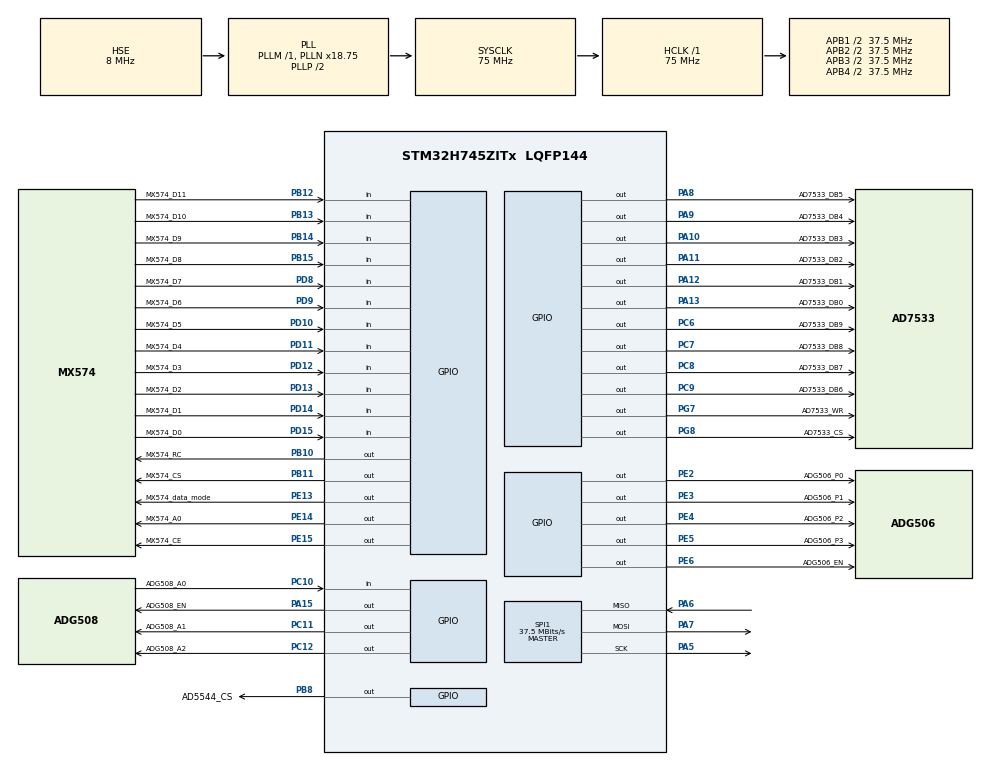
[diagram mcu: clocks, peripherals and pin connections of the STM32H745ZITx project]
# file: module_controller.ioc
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CortexM4.IPs=FATFS_M4\:I,FREERTOS_M4\:I,IWDG2\:I,RCC,WWDG2\:I,DMA,BDMA,MDMA,NVIC2\:I,USART3,ETH,DEBUG,USB_DEVICE_M4\:I,USB_HOST_M4\:I,PDM2PCM_M4\:I,PWR,RESMGR_UTILITY,SYS_M4\:I,CORTEX_M4\:I,OPENAMP_M4\:I,VREFBUF,GPIO
CortexM7.IPs=FATFS_M7\:I,FREERTOS_M7\:I,IWDG1\:I,RCC\:I,WWDG1\:I,DMA\:I,BDMA\:I,MDMA\:I,NVIC1\:I,SYS\:I,USART3\:I,USB_OTG_FS\:I,ETH\:I,CORTEX_M7\:I,DEBUG\:I,USB_DEVICE_M7\:I,USB_HOST_M7\:I,PDM2PCM_M7\:I,PWR\:I,RESMGR_UTILITY\:I,OPENAMP_M7\:I,VREFBUF\:I,GPIO\:I,SPI1\:I,SPI2\:I
Mcu.Family=STM32H7
Mcu.Name=STM32H745ZITx
Mcu.Package=LQFP144
NVIC1.PriorityGroup=NVIC_PRIORITYGROUP_4
NVIC2.PriorityGroup=NVIC_PRIORITYGROUP_4
PA10.GPIO_Label=AD7533_DB3
PA10.PinAttribute=Free
PA10.Signal=GPIO_Output
PA11.GPIO_Label=AD7533_DB2
PA11.PinAttribute=Free
PA11.Signal=GPIO_Output
PA12.GPIO_Label=AD7533_DB1
PA12.PinAttribute=Free
PA12.Signal=GPIO_Output
PA13\ (JTMS/SWDIO).GPIO_Label=AD7533_DB0
PA13\ (JTMS/SWDIO).PinAttribute=Free
PA13\ (JTMS/SWDIO).Signal=GPIO_Output
PA15\ (JTDI).GPIO_Label=ADG508_EN
PA15\ (JTDI).PinAttribute=Free
PA15\ (JTDI).Signal=GPIO_Output
PA5.Mode=Full_Duplex_Master
PA5.PinAttribute=CortexM7
PA5.Signal=SPI1_SCK
PA6.Mode=Full_Duplex_Master
PA6.PinAttribute=CortexM7
PA6.Signal=SPI1_MISO
PA7.Mode=Full_Duplex_Master
PA7.PinAttribute=CortexM7
PA7.Signal=SPI1_MOSI
PA8.GPIO_Label=AD7533_DB5
PA8.PinAttribute=Free
PA8.Signal=GPIO_Output
PA9.GPIO_Label=AD7533_DB4
PA9.PinAttribute=Free
PA9.Signal=GPIO_Output
PB10.GPIO_Label=MX574_RC
PB10.Signal=GPIO_Output
PB11.GPIO_Label=MX574_CS
PB11.Signal=GPIO_Output
PB12.GPIO_Label=MX574_D11
PB12.Signal=GPIO_Input
PB13.GPIO_Label=MX574_D10
PB13.Signal=GPIO_Input
PB14.GPIO_Label=MX574_D9
PB14.Signal=GPIO_Input
PB15.GPIO_Label=MX574_D8
PB15.Signal=GPIO_Input
PB8.GPIO_Label=AD5544_CS
PB8.PinAttribute=Free
PB8.Signal=GPIO_Output
PC10.GPIO_Label=ADG508_A0
PC10.PinAttribute=Free
PC10.Signal=GPIO_Input
PC11.GPIO_Label=ADG508_A1
PC11.PinAttribute=Free
PC11.Signal=GPIO_Output
PC12.GPIO_Label=ADG508_A2
PC12.PinAttribute=Free
PC12.Signal=GPIO_Output
PC6.GPIO_Label=AD7533_DB9
PC6.PinAttribute=Free
PC6.Signal=GPIO_Output
PC7.GPIO_Label=AD7533_DB8
PC7.PinAttribute=Free
PC7.Signal=GPIO_Output
PC8.GPIO_Label=AD7533_DB7
PC8.PinAttribute=Free
PC8.Signal=GPIO_Output
PC9.GPIO_Label=AD7533_DB6
PC9.PinAttribute=Free
PC9.Signal=GPIO_Output
PD10.GPIO_Label=MX574_D5
PD10.Signal=GPIO_Input
PD11.GPIO_Label=MX574_D4
PD11.Signal=GPIO_Input
PD12.GPIO_Label=MX574_D3
PD12.Signal=GPIO_Input
PD13.GPIO_Label=MX574_D2
PD13.Signal=GPIO_Input
PD14.GPIO_Label=MX574_D1
PD14.Signal=GPIO_Input
PD15.GPIO_Label=MX574_D0
PD15.Signal=GPIO_Input
PD8.GPIO_Label=MX574_D7
PD8.Signal=GPIO_Input
PD9.GPIO_Label=MX574_D6
PD9.Signal=GPIO_Input
PE13.GPIO_Label=MX574_data_mode
PE13.Signal=GPIO_Output
PE14.GPIO_Label=MX574_A0
PE14.Signal=GPIO_Output
PE15.GPIO_Label=MX574_CE
PE15.Signal=GPIO_Output
PE2.GPIO_Label=ADG506_P0
PE2.Signal=GPIO_Output
PE3.GPIO_Label=ADG506_P1
PE3.Signal=GPIO_Output
PE4.GPIO_Label=ADG506_P2
PE4.Signal=GPIO_Output
PE5.GPIO_Label=ADG506_P3
PE5.Signal=GPIO_Output
PE6.GPIO_Label=ADG506_EN
PE6.Signal=GPIO_Output
PG7.GPIO_Label=AD7533_WR
PG7.PinAttribute=Free
PG7.Signal=GPIO_Output
PG8.GPIO_Label=AD7533_CS
PG8.PinAttribute=Free
PG8.Signal=GPIO_Output
PH0-OSC_IN\ (PH0).Mode=HSE-External-Oscillator
PH0-OSC_IN\ (PH0).PinAttribute=Free
PH0-OSC_IN\ (PH0).Signal=RCC_OSC_IN
PH1-OSC_OUT\ (PH1).Mode=HSE-External-Oscillator
PH1-OSC_OUT\ (PH1).PinAttribute=Free
PH1-OSC_OUT\ (PH1).Signal=RCC_OSC_OUT
ProjectManager.HeapSize=M4-0x200,M7-0x200
ProjectManager.StackSize=M4-0x400,M7-0x400
ProjectManager.TargetToolchain=STM32CubeIDE
RCC.ADCFreq_Value=16125000
RCC.APB1Freq_Value=37500000
RCC.APB2Freq_Value=37500000
RCC.APB3Freq_Value=37500000
RCC.APB4Freq_Value=37500000
RCC.CortexFreq_Value=75000000
RCC.D1PPRE=RCC_APB3_DIV2
RCC.D2PPRE1=RCC_APB1_DIV2
RCC.D2PPRE2=RCC_APB2_DIV2
RCC.D3PPRE=RCC_APB4_DIV2
RCC.DIVM1=1
RCC.DIVM3=1
RCC.DIVN1=18
RCC.DIVN3=18
RCC.DIVQ3=3
RCC.HCLKFreq_Value=75000000
RCC.HSE_VALUE=8000000
RCC.PLL2FRACN=0
RCC.PLL3FRACN=6144
RCC.PLLFRACN=6144
RCC.PLLSourceVirtual=RCC_PLLSOURCE_HSE
RCC.SYSCLKFreq_VALUE=75000000
RCC.SYSCLKSource=RCC_SYSCLKSOURCE_PLLCLK
RCC.SupplySource=PWR_DIRECT_SMPS_SUPPLY
RCC.USBCLockSelection=RCC_USBCLKSOURCE_PLL3
RCC.USBFreq_Value=50000000
SPI1.CalculateBaudRate=37.5 MBits/s
SPI1.Direction=SPI_DIRECTION_2LINES
SPI1.Mode=SPI_MODE_MASTER
SPI1.VirtualType=VM_MASTER
VP_SYS_M4_VS_Systick.Mode=SysTick
board=NUCLEO-H745ZI-Q

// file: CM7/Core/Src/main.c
/* USER CODE BEGIN Header */
/**
  ******************************************************************************
  * @file           : main.c
  * @brief          : Main program body
  ******************************************************************************
  * @attention
  *
  * Copyright (c) 2025 STMicroelectronics.
  * All rights reserved.
  *
  * This software is licensed under terms that can be found in the LICENSE file
  * in the root directory of this software component.
  * If no LICENSE file comes with this software, it is provided AS-IS.
  *
  ******************************************************************************
  */
/* USER CODE END Header */
#include "main.h"

/* USER CODE BEGIN Includes */
#include "ad5544.h"
#include "ad7533.h"
#include "adg508.h"
#include "adg506.h"
#include "mx574.h"
/* USER CODE END Includes */

/* USER CODE BEGIN PD */

#ifndef HSEM_ID_0
#define HSEM_ID_0 (0U) /* HW semaphore 0*/
#endif

/* USER CODE END PD */

SPI_HandleTypeDef hspi1;

void SystemClock_Config(void);
static void MX_GPIO_Init(void);
static void MX_SPI1_Init(void);

int main(void)
{

/* USER CODE BEGIN Boot_Mode_Sequence_0 */
  int32_t timeout;
/* USER CODE END Boot_Mode_Sequence_0 */

/* USER CODE BEGIN Boot_Mode_Sequence_1 */
  /* Wait until CPU2 boots and enters in stop mode or timeout*/
  timeout = 0xFFFF;
  while((__HAL_RCC_GET_FLAG(RCC_FLAG_D2CKRDY) != RESET) && (timeout-- > 0));
  if ( timeout < 0 )
  {
  Error_Handler();
  }
/* USER CODE END Boot_Mode_Sequence_1 */
  /* MCU Configuration--------------------------------------------------------*/

  /* Reset of all peripherals, Initializes the Flash interface and the Systick. */
  HAL_Init();

  /* Configure the system clock */
  SystemClock_Config();
/* USER CODE BEGIN Boot_Mode_Sequence_2 */
/* When system initialization is finished, Cortex-M7 will release Cortex-M4 by means of
HSEM notification */
/*HW semaphore Clock enable*/
__HAL_RCC_HSEM_CLK_ENABLE();
/*Take HSEM */
HAL_HSEM_FastTake(HSEM_ID_0);
/*Release HSEM in order to notify the CPU2(CM4)*/
HAL_HSEM_Release(HSEM_ID_0,0);
/* wait until CPU2 wakes up from stop mode */
timeout = 0xFFFF;
while((__HAL_RCC_GET_FLAG(RCC_FLAG_D2CKRDY) == RESET) && (timeout-- > 0));
if ( timeout < 0 )
{
Error_Handler();
}
/* USER CODE END Boot_Mode_Sequence_2 */

  /* Initialize all configured peripherals */
  MX_GPIO_Init();
  MX_SPI1_Init();
  /* USER CODE BEGIN 2 */

  //AD5544_Init();
  //AD7533_Init();
  //ADG508_Init();  // MUX aktif
  //ADG506_Init();
  //MX574_Init();

  /* USER CODE END 2 */

  /* Infinite loop */
  /* USER CODE BEGIN WHILE */

  while (1)
  {
	  // AD5544
	  //AD5544_WriteChannel(0, 0xAAAA);  // kanal 0'a (A cikisi) 0xAAAA yani orta seviyeye yakin dijital deger gonderilir, DAC cikisinda buna karsilik gelen analog voltaj uretir
	  //AD5544_WriteChannel(1, 0x5555);  // kanal 1'e (B cikisi) 0x5555 diger bir orta seviye dijital deger gonderilir
	  //HAL_Delay(1000);

	  // AD7533
	  //AD7533_Write(0x155);  // DAC'a 0x155 (0001010101) yazilir. DB0, DB2, DB4, DB6, DB8 pinleri high yapilir
	  //HAL_Delay(1000);
	  //AD7533_Write(0x2AA);  // DAC'e 0x2AA (0010101010) yazilir. DB1, DB3, DB5, DB7, DB9 pinleri high yapilir
	  //HAL_Delay(1000);

	  // ADG508
	  // 8 kanalin her biri sirasiyla secilir(kanal 0–7). Her kanal yaklasik 500ms boyunca aktif kalır
	  // Bu, coklayicinin duzgun kanal anahtarlama yapip yapmadigini test etmek icindir
	  //for (uint8_t ch = 0; ch < 8; ch++) {
	  //    ADG508_SelectChannel(ch);  							// kanal secimi(A0–A2 pinleri uzerinden), GPIOC->ODR ile kontrol
	  //    HAL_Delay(500);
	  //}

	  // ADG506
	  // 16 kanalin her biri sirasiyla secilir (kanal 0–15)
	  // Bu test 4 bit kanal seciminin (A0–A3) duzgun calistigini dogrular
	  //for (uint8_t ch = 0; ch < 16; ch++) {
	  //    ADG506_SelectChannel(ch);
	  //    HAL_Delay(500);
	  //}

	  // MX574
	  // ADC modulunden 12 bitlik dijital veri okunur, su anda donanim henuz baglanmadigi icin fonksiyon test verisi dondurmektedir
	  //uint16_t adc_result = MX574_Read12Bit();					// modul olunca icindeki fake_data kismi silinecek
	  //HAL_Delay(1000);

    /* USER CODE END WHILE */

  }
}

void SystemClock_Config(void)
{
  RCC_OscInitTypeDef RCC_OscInitStruct = {0};
  RCC_ClkInitTypeDef RCC_ClkInitStruct = {0};

  /** Supply configuration update enable
  */
  HAL_PWREx_ConfigSupply(PWR_DIRECT_SMPS_SUPPLY);

  /** Configure the main internal regulator output voltage
  */
  __HAL_PWR_VOLTAGESCALING_CONFIG(PWR_REGULATOR_VOLTAGE_SCALE3);

  while(!__HAL_PWR_GET_FLAG(PWR_FLAG_VOSRDY)) {}

  /** Initializes the RCC Oscillators according to the specified parameters
  * in the RCC_OscInitTypeDef structure.
  */
  RCC_OscInitStruct.OscillatorType = RCC_OSCILLATORTYPE_HSE;
  RCC_OscInitStruct.HSEState = RCC_HSE_ON;
  RCC_OscInitStruct.PLL.PLLState = RCC_PLL_ON;
  RCC_OscInitStruct.PLL.PLLSource = RCC_PLLSOURCE_HSE;
  RCC_OscInitStruct.PLL.PLLM = 1;
  RCC_OscInitStruct.PLL.PLLN = 18;
  RCC_OscInitStruct.PLL.PLLP = 2;
  RCC_OscInitStruct.PLL.PLLQ = 2;
  RCC_OscInitStruct.PLL.PLLR = 2;
  RCC_OscInitStruct.PLL.PLLRGE = RCC_PLL1VCIRANGE_3;
  RCC_OscInitStruct.PLL.PLLVCOSEL = RCC_PLL1VCOMEDIUM;
  RCC_OscInitStruct.PLL.PLLFRACN = 6144;
  if (HAL_RCC_OscConfig(&RCC_OscInitStruct) != HAL_OK)
  {
    Error_Handler();
  }

  /** Initializes the CPU, AHB and APB buses clocks
  */
  RCC_ClkInitStruct.ClockType = RCC_CLOCKTYPE_HCLK|RCC_CLOCKTYPE_SYSCLK
                              |RCC_CLOCKTYPE_PCLK1|RCC_CLOCKTYPE_PCLK2
                              |RCC_CLOCKTYPE_D3PCLK1|RCC_CLOCKTYPE_D1PCLK1;
  RCC_ClkInitStruct.SYSCLKSource = RCC_SYSCLKSOURCE_PLLCLK;
  RCC_ClkInitStruct.SYSCLKDivider = RCC_SYSCLK_DIV1;
  RCC_ClkInitStruct.AHBCLKDivider = RCC_HCLK_DIV1;
  RCC_ClkInitStruct.APB3CLKDivider = RCC_APB3_DIV2;
  RCC_ClkInitStruct.APB1CLKDivider = RCC_APB1_DIV2;
  RCC_ClkInitStruct.APB2CLKDivider = RCC_APB2_DIV2;
  RCC_ClkInitStruct.APB4CLKDivider = RCC_APB4_DIV2;

  if (HAL_RCC_ClockConfig(&RCC_ClkInitStruct, FLASH_LATENCY_1) != HAL_OK)
  {
    Error_Handler();
  }
}

static void MX_SPI1_Init(void)
{

  /* SPI1 parameter configuration*/
  hspi1.Instance = SPI1;
  hspi1.Init.Mode = SPI_MODE_MASTER;
  hspi1.Init.Direction = SPI_DIRECTION_2LINES;
  hspi1.Init.DataSize = SPI_DATASIZE_4BIT;
  hspi1.Init.CLKPolarity = SPI_POLARITY_LOW;
  hspi1.Init.CLKPhase = SPI_PHASE_1EDGE;
  hspi1.Init.NSS = SPI_NSS_SOFT;
  hspi1.Init.BaudRatePrescaler = SPI_BAUDRATEPRESCALER_2;
  hspi1.Init.FirstBit = SPI_FIRSTBIT_MSB;
  hspi1.Init.TIMode = SPI_TIMODE_DISABLE;
  hspi1.Init.CRCCalculation = SPI_CRCCALCULATION_DISABLE;
  hspi1.Init.CRCPolynomial = 0x0;
  hspi1.Init.NSSPMode = SPI_NSS_PULSE_ENABLE;
  hspi1.Init.NSSPolarity = SPI_NSS_POLARITY_LOW;
  hspi1.Init.FifoThreshold = SPI_FIFO_THRESHOLD_01DATA;
  hspi1.Init.TxCRCInitializationPattern = SPI_CRC_INITIALIZATION_ALL_ZERO_PATTERN;
  hspi1.Init.RxCRCInitializationPattern = SPI_CRC_INITIALIZATION_ALL_ZERO_PATTERN;
  hspi1.Init.MasterSSIdleness = SPI_MASTER_SS_IDLENESS_00CYCLE;
  hspi1.Init.MasterInterDataIdleness = SPI_MASTER_INTERDATA_IDLENESS_00CYCLE;
  hspi1.Init.MasterReceiverAutoSusp = SPI_MASTER_RX_AUTOSUSP_DISABLE;
  hspi1.Init.MasterKeepIOState = SPI_MASTER_KEEP_IO_STATE_DISABLE;
  hspi1.Init.IOSwap = SPI_IO_SWAP_DISABLE;
  if (HAL_SPI_Init(&hspi1) != HAL_OK)
  {
    Error_Handler();
  }

}

static void MX_GPIO_Init(void)
{

  /* GPIO Ports Clock Enable */
  __HAL_RCC_GPIOA_CLK_ENABLE();

/* USER CODE BEGIN MX_GPIO_Init_2 */
  __HAL_RCC_GPIOC_CLK_ENABLE();
  __HAL_RCC_GPIOE_CLK_ENABLE();
  __HAL_RCC_GPIOB_CLK_ENABLE();
  __HAL_RCC_GPIOD_CLK_ENABLE();

  GPIO_InitTypeDef GPIO_InitStruct = {0};

  GPIO_InitStruct.Pin = GPIO_PIN_10 | GPIO_PIN_11 | GPIO_PIN_12;
  GPIO_InitStruct.Mode = GPIO_MODE_OUTPUT_PP;
  GPIO_InitStruct.Pull = GPIO_NOPULL;
  GPIO_InitStruct.Speed = GPIO_SPEED_FREQ_LOW;
  HAL_GPIO_Init(GPIOC, &GPIO_InitStruct);

  GPIO_InitStruct.Pin = GPIO_PIN_15;
  HAL_GPIO_Init(GPIOA, &GPIO_InitStruct);

  GPIO_InitStruct.Pin = GPIO_PIN_2 | GPIO_PIN_3 | GPIO_PIN_4 | GPIO_PIN_5 | GPIO_PIN_6;
  GPIO_InitStruct.Mode = GPIO_MODE_OUTPUT_PP;
  GPIO_InitStruct.Pull = GPIO_NOPULL;
  GPIO_InitStruct.Speed = GPIO_SPEED_FREQ_LOW;
  HAL_GPIO_Init(GPIOE, &GPIO_InitStruct);

  GPIO_InitStruct.Pin = GPIO_PIN_8 | GPIO_PIN_9 | GPIO_PIN_10 | GPIO_PIN_11 |
                        GPIO_PIN_12 | GPIO_PIN_13 | GPIO_PIN_14 | GPIO_PIN_15;
  GPIO_InitStruct.Mode = GPIO_MODE_INPUT;
  GPIO_InitStruct.Pull = GPIO_NOPULL;
  HAL_GPIO_Init(GPIOD, &GPIO_InitStruct);

  GPIO_InitStruct.Pin = GPIO_PIN_12 | GPIO_PIN_13 | GPIO_PIN_14 | GPIO_PIN_15;
  HAL_GPIO_Init(GPIOB, &GPIO_InitStruct);

  GPIO_InitStruct.Pin = GPIO_PIN_13 | GPIO_PIN_14 | GPIO_PIN_15;
  GPIO_InitStruct.Mode = GPIO_MODE_OUTPUT_PP;
  GPIO_InitStruct.Pull = GPIO_NOPULL;
  GPIO_InitStruct.Speed = GPIO_SPEED_FREQ_LOW;
  HAL_GPIO_Init(GPIOE, &GPIO_InitStruct);

  GPIO_InitStruct.Pin = GPIO_PIN_10 | GPIO_PIN_11;
  HAL_GPIO_Init(GPIOB, &GPIO_InitStruct);
/* USER CODE END MX_GPIO_Init_2 */
}

void Error_Handler(void)
{
  __disable_irq();
  while (1)
  {
  }
}
